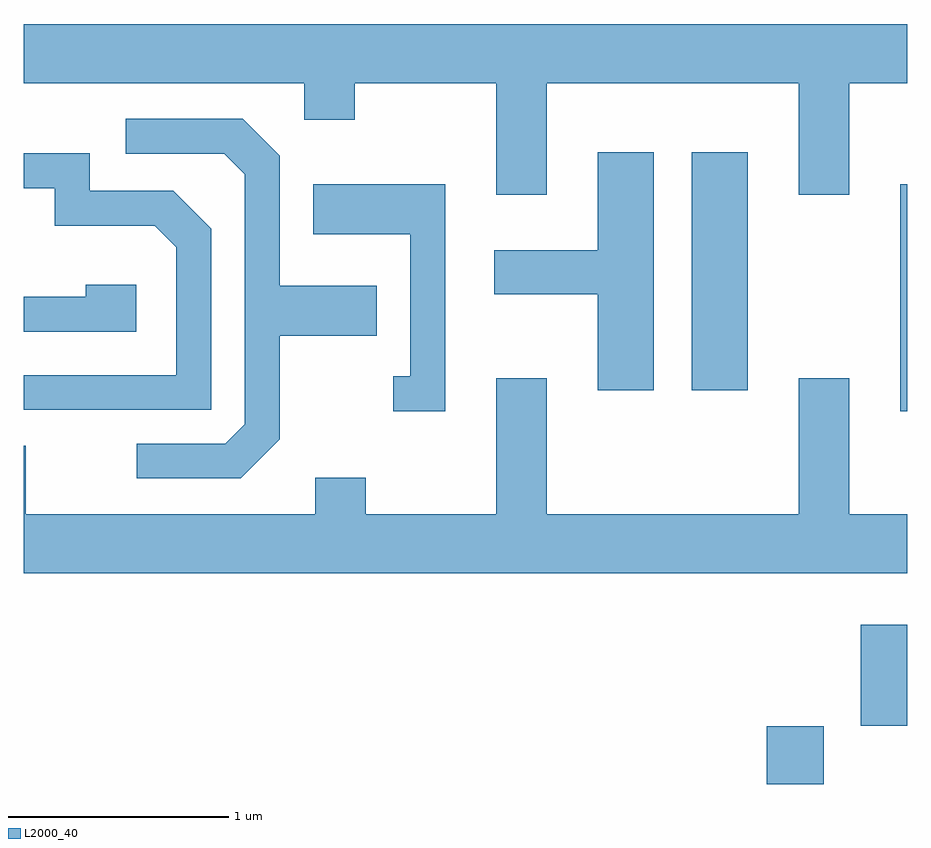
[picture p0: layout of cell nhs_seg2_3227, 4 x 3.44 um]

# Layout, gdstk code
import gdstk
lib = gdstk.Library(unit=1e-6, precision=1e-09)
def R(c, l, rs):  # rectangles x0, y0, x1, y1
    for r in rs: c.add(gdstk.rectangle(r[:2], r[2:], *l))
def P(c, l, *ps):  # polygons
    for p in ps: c.add(gdstk.Polygon(p, *l))
L2000_40 = (2000, 40)

nhs_seg2_3227 = lib.new_cell('nhs_seg2_3227')
R(nhs_seg2_3227, L2000_40, [(282.976,1051.802,283.234,1052.064), (283.401,1052.066,283.611,1052.524), (283.581,1053.491,283.611,1054.519), (282.636,1053.586,282.889,1054.664)])
P(nhs_seg2_3227, L2000_40, [(281.979,1054.976),(283.121,1054.976),(283.121,1054.471),(283.349,1054.471),(283.349,1054.976),(283.611,1054.976),(283.611,1055.244),(279.611,1055.244),(279.611,1054.976),(280.881,1054.976),(280.881,1054.811),(281.109,1054.811),(281.109,1054.976),(281.751,1054.976),(281.751,1054.471),(281.979,1054.471)],
  [(280.769,1053.364),(280.769,1053.831),(281.209,1053.831),(281.209,1054.059),(280.769,1054.059),(280.769,1054.647),(280.602,1054.814),(280.073,1054.814),(280.073,1054.656),(280.519,1054.656),(280.611,1054.564),(280.611,1053.432),(280.524,1053.344),(280.123,1053.344),(280.123,1053.186),(280.592,1053.186)],
  [(282.464,1054.664),(282.211,1054.664),(282.211,1054.219),(281.741,1054.219),(281.741,1054.021),(282.211,1054.021),(282.211,1053.586),(282.464,1053.586)],
  [(280.459,1054.317),(280.287,1054.489),(279.909,1054.489),(279.909,1054.659),(279.611,1054.659),(279.611,1054.501),(279.751,1054.501),(279.751,1054.331),(280.204,1054.331),(280.301,1054.234),(280.301,1053.654),(279.611,1053.654),(279.611,1053.496),(280.459,1053.496)],
  [(281.519,1054.519),(280.921,1054.519),(280.921,1054.291),(281.361,1054.291),(281.361,1053.649),(281.283,1053.649),(281.283,1053.491),(281.519,1053.491)],
  [(280.119,1054.064),(279.891,1054.064),(279.891,1054.009),(279.611,1054.009),(279.611,1053.851),(280.119,1053.851)],
  [(283.611,1053.024),(283.349,1053.024),(283.349,1053.639),(283.121,1053.639),(283.121,1053.024),(281.979,1053.024),(281.979,1053.639),(281.751,1053.639),(281.751,1053.024),(281.159,1053.024),(281.159,1053.189),(280.931,1053.189),(280.931,1053.024),(279.619,1053.024),(279.619,1053.334),(279.611,1053.334),(279.611,1052.756),(283.611,1052.756)])

lib.write_gds('nhs_seg2_3227.gds')
